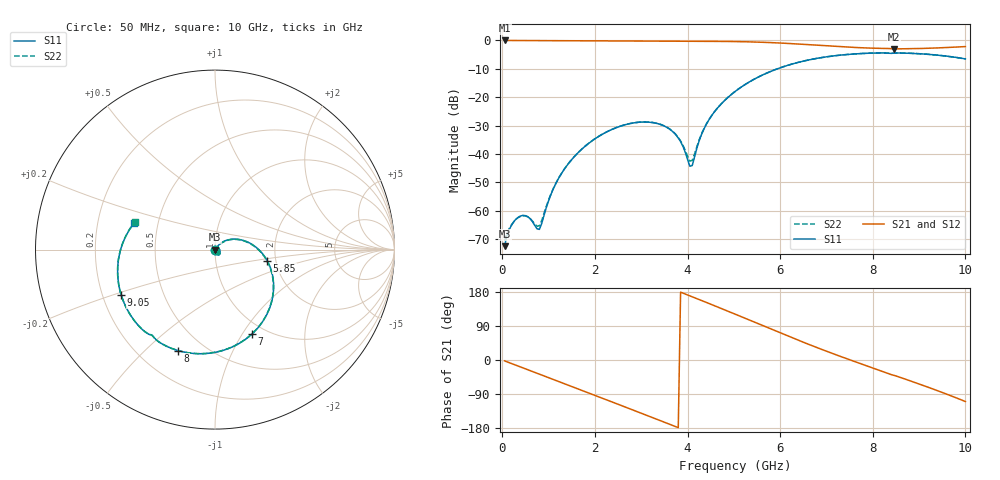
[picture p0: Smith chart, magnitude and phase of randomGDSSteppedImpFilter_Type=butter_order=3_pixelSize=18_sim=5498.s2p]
! freq	dB(S11)	phase(S11)	dB(S12)	phase(S12)
!  dB(S21)	phase(S21)	dB(S22)	phase(S22)
!S-par simulation data
#  GHz  S  DB  R 50
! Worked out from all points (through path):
!   200 points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, 50 MHz to 10 GHz, reference 50 ohm
!   highest |S21| = 0.00 dB at 50 MHz (marker M1); lowest = -3.0 dB at 8.45 GHz (marker M2)
!   group delay of S21, straight-line fit = 132 ps
!   lowest |S11| = -72.5 dB at 50 MHz (marker M3), VSWR 1.00, Z = 50 + j0.00411 ohm
!   |S11| at or under -10 dB: start of sweep to 5.938 GHz
!   |S22| runs from -70.6 to -4.4 dB; largest |S21 - S12| = 0
!   S11 on the Smith chart (normalised r, x): 50 MHz: 1.00, +0.00; 5.85 GHz: 1.80, -0.24; 7 GHz: 0.86, -1.10; 8 GHz: 0.36, -0.63; 9.05 GHz: 0.28, -0.21; 10 GHz: 0.37, +0.14
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0.05  -72.49 10.0  -0.00 -2.4  -0.00 -2.4  -70.57 7.1
0.2  -65.07 -60.0  -0.01 -9.4  -0.01 -9.4  -64.93 -60.7
0.4  -61.81 -97.5  -0.03 -18.7  -0.03 -18.7  -61.94 -98.7
0.8  -66.58 149.5  -0.04 -37.3  -0.04 -37.3  -65.32 149.1
1.2  -49.07 51.9  -0.06 -55.9  -0.06 -55.9  -48.98 54.6
1.75  -37.81 16.7  -0.09 -81.6  -0.09 -81.6  -37.78 18.1
2.5  -30.49 -21.2  -0.14 -116.8  -0.14 -116.8  -30.47 -20.0
3.4  -29.52 -62.2  -0.20 -159.4  -0.20 -159.4  -29.48 -60.3
3.75  -33.29 -73.0  -0.22 -176.2  -0.22 -176.2  -33.16 -69.6
4.05  -44.33 -29.5  -0.24 169.4  -0.24 169.4  -42.48 -25.8
4.1  -44.11 6.0  -0.25 166.9  -0.25 166.9  -42.28 2.4
4.25  -35.41 48.3  -0.26 159.6  -0.26 159.6  -35.07 43.3
4.45  -28.29 49.9  -0.28 149.8  -0.28 149.8  -28.21 47.4
5.05  -17.70 26.6  -0.40 119.8  -0.40 119.8  -17.69 25.7
5.85  -10.55 -11.9  -0.79 79.2  -0.79 79.2  -10.54 -12.4
6.7  -6.59 -52.9  -1.58 37.3  -1.58 37.3  -6.59 -53.2
7  -5.77 -66.7  -1.89 23.2  -1.89 23.2  -5.77 -67.0
8  -4.45 -110.2  -2.72 -20.9  -2.72 -20.9  -4.45 -110.5
8.35  -4.51 -125.1  -2.84 -36.3  -2.84 -36.3  -4.51 -125.4
8.45  -4.45 -128.1  -2.99 -40.2  -2.99 -40.2  -4.46 -128.3
9.05  -4.72 -154.1  -2.82 -65.5  -2.82 -65.5  -4.72 -154.4
10  -6.50 161.6  -2.16 -109.6  -2.16 -109.6  -6.50 161.1
